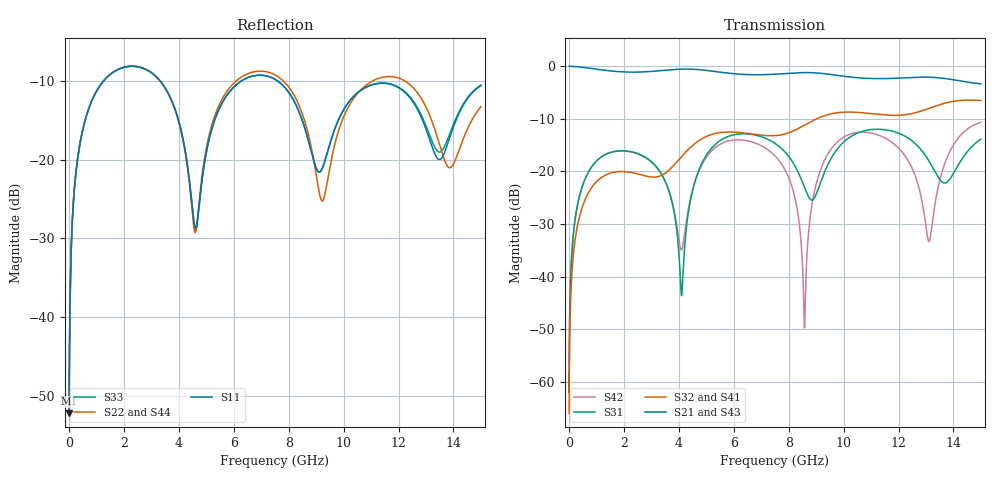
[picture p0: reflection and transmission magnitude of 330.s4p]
! Created with skrf 1.8.0 (http://scikit-rf.org).
# GHz S RI R 50.0
!freq ReS11 ImS11 ReS12 ImS12 ReS13 ImS13
! ReS14 ImS14
! ReS21 ImS21 ReS22 ImS22 ReS23 ImS23
! ReS24 ImS24
! ReS31 ImS31 ReS32 ImS32 ReS33 ImS33
! ReS34 ImS34
! ReS41 ImS41 ReS42 ImS42 ReS43 ImS43
! ReS44 ImS44
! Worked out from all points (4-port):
!   2499 points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, 5 MHz to 15 GHz, reference 50 ohm
!   strongest paths, dB at 5 MHz, 3.476 GHz, 7.19 GHz, 11.1 GHz, 15 GHz:
!     S21: 0.0, -0.8, -1.6, -2.4, -3.4
!     S43: 0.0, -0.8, -1.6, -2.4, -3.4
!     S32: -66.0, -20.5, -13.2, -9.1, -6.5
!     S41: -66.0, -20.5, -13.2, -9.1, -6.5
!     S31: -62.0, -21.6, -13.8, -12.0, -13.9
!     S42: -62.0, -21.6, -15.7, -12.8, -10.7
!   lowest |S11| = -52.2 dB at 5 MHz (marker M1), VSWR 1.00, Z = 50.2 + j0.148 ohm
!   |S11| at or under -10 dB: start of sweep to 1.257 GHz; 3.32 GHz to 6.276 GHz (2.956 GHz wide, 61.6 % of centre); 7.598 GHz to end of sweep
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0.005  0.00195 0.00148  0.998 -0.00379  9.94e-05 0.000789  -9.64e-05 -0.000493
       0.998 -0.00379  0.00195 0.00148  -9.64e-05 -0.000493  9.94e-05 0.000789
       9.94e-05 0.000789  -9.64e-05 -0.000493  0.00195 0.00148  0.998 -0.00379
       -9.64e-05 -0.000493  9.94e-05 0.000789  0.998 -0.00379  0.00195 0.00148
1.3193  0.2733 0.1763  0.5417 -0.7328  0.1314 0.0599  -0.0916 -0.00512
        0.5417 -0.7328  0.2741 0.1758  -0.0917 -0.00508  0.1294 0.0627
        0.1314 0.0599  -0.0917 -0.00508  0.2733 0.1763  0.5417 -0.7328
        -0.0916 -0.00512  0.1294 0.0627  0.5417 -0.7328  0.2741 0.1758
4.095456  0.0795 -0.1276  -0.849 -0.3935  -0.00631 -0.00207  -0.0542 0.1265
          -0.849 -0.3935  0.0762 -0.1275  -0.0539 0.1266  -0.0171 -0.00539
          -0.00631 -0.00207  -0.0539 0.1266  0.0785 -0.128  -0.849 -0.3934
          -0.0542 0.1265  -0.0171 -0.00539  -0.849 -0.3934  0.0771 -0.127
4.645686  0.0378 0.0061  -0.9288 -0.0298  0.0207 0.087  -0.000158 0.1886
          -0.9288 -0.0298  0.0359 0.0108  0.000139 0.1888  -0.00377 0.088
          0.0207 0.087  0.000139 0.1888  0.0362 0.0062  -0.9287 -0.0296
          -0.000158 0.1886  -0.00377 0.088  -0.9287 -0.0296  0.0374 0.011
8.578574  0.124 -0.1019  0.7066 0.5033  -0.0471 -0.052  0.1526 -0.2284
          0.7066 0.5033  0.1106 -0.1384  0.1508 -0.2297  0.00292 0.00141
          -0.0471 -0.052  0.1508 -0.2297  0.1255 -0.101  0.7067 0.503
          0.1526 -0.2284  0.00292 0.00141  0.7067 0.503  0.1097 -0.1397
11.91747  0.286 -0.0591  0.017 -0.7664  0.1591 -0.1727  -0.332 0.0638
          0.017 -0.7664  0.3271 -0.065  -0.3336 0.068  0.1616 -0.0656
          0.1591 -0.1727  -0.3336 0.068  0.2897 -0.0513  0.0165 -0.7648
          -0.332 0.0638  0.1616 -0.0656  0.0165 -0.7648  0.3319 -0.0729
15  0.2833 0.0844  -0.604 0.3101  0.1811 0.09  0.288 0.3728
    -0.604 0.3101  0.2035 0.0759  0.2915 0.3695  0.2705 0.1094
    0.1811 0.09  0.2915 0.3695  0.2867 0.0799  -0.6035 0.3108
    0.288 0.3728  0.2705 0.1094  -0.6035 0.3108  0.2007 0.0769
